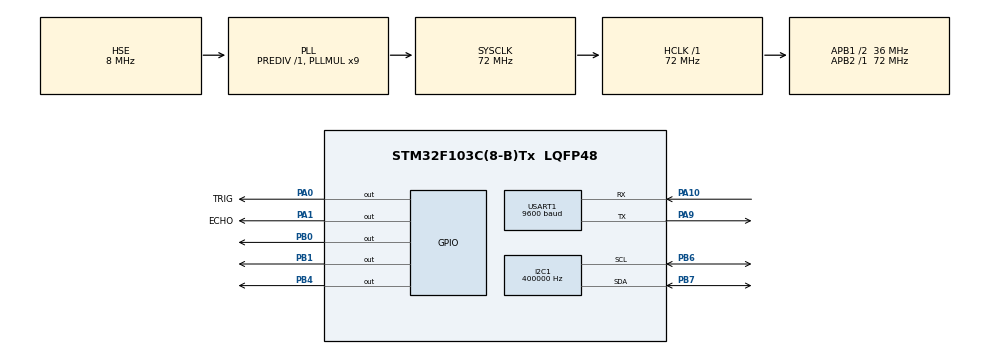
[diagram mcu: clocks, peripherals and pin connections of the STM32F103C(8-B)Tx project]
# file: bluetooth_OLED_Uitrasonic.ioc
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I2C1.ClockSpeed=400000
I2C1.DutyCycle=I2C_DUTYCYCLE_16_9
I2C1.I2C_Mode=I2C_Fast
Mcu.Family=STM32F1
Mcu.Name=STM32F103C(8-B)Tx
Mcu.Package=LQFP48
NVIC.PriorityGroup=NVIC_PRIORITYGROUP_4
NVIC.USART1_IRQn=true\:0\:0\:false\:false\:true\:true\:true\:true
PA0-WKUP.GPIO_Label=TRIG
PA0-WKUP.Signal=GPIO_Output
PA1.GPIO_Label=ECHO
PA1.Signal=GPIO_Output
PA10.Mode=Asynchronous
PA10.Signal=USART1_RX
PA13.Mode=Serial_Wire
PA13.Signal=SYS_JTMS-SWDIO
PA14.Mode=Serial_Wire
PA14.Signal=SYS_JTCK-SWCLK
PA9.Mode=Asynchronous
PA9.Signal=USART1_TX
PB0.Signal=GPIO_Output
PB1.Signal=GPIO_Output
PB4.Signal=GPIO_Output
PB6.Mode=I2C
PB6.Signal=I2C1_SCL
PB7.Mode=I2C
PB7.Signal=I2C1_SDA
PD0-OSC_IN.Mode=HSE-External-Oscillator
PD0-OSC_IN.Signal=RCC_OSC_IN
PD1-OSC_OUT.Mode=HSE-External-Oscillator
PD1-OSC_OUT.Signal=RCC_OSC_OUT
ProjectManager.HeapSize=0x200
ProjectManager.StackSize=0x400
ProjectManager.TargetToolchain=MDK-ARM V5.32
RCC.AHBFreq_Value=72000000
RCC.APB1CLKDivider=RCC_HCLK_DIV2
RCC.APB1Freq_Value=36000000
RCC.APB1TimFreq_Value=72000000
RCC.APB2Freq_Value=72000000
RCC.APB2TimFreq_Value=72000000
RCC.HCLKFreq_Value=72000000
RCC.PLLMUL=RCC_PLL_MUL9
RCC.PLLSourceVirtual=RCC_PLLSOURCE_HSE
RCC.SYSCLKFreq_VALUE=72000000
RCC.SYSCLKSource=RCC_SYSCLKSOURCE_PLLCLK
RCC.USBFreq_Value=72000000
USART1.BaudRate=9600
USART1.VirtualMode=VM_ASYNC
board=custom

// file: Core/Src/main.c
/* USER CODE BEGIN Header */
/**
  ******************************************************************************
  * @file           : main.c
  * @brief          : Main program body
  ******************************************************************************
  * @attention
  *
  * Copyright (c) 2026 STMicroelectronics.
  * All rights reserved.
  *
  * This software is licensed under terms that can be found in the LICENSE file
  * in the root directory of this software component.
  * If no LICENSE file comes with this software, it is provided AS-IS.
  *
  ******************************************************************************
  */
/* USER CODE END Header */
#include "main.h"

/* USER CODE BEGIN Includes */
#include "OLED.h"
#include <stdio.h>
#include <string.h>
/* USER CODE END Includes */

/* USER CODE BEGIN PD */
#define TRIG_PIN GPIO_PIN_0
#define TRIG_PORT GPIOA
#define ECHO_PIN GPIO_PIN_1
#define ECHO_PORT GPIOA

// 电机控制引脚（右电机 BIN1 改用 PB4）
#define AIN1_PIN GPIO_PIN_0   // PB0 - 左前
#define AIN2_PIN GPIO_PIN_1   // PB1 - 左后
#define BIN1_PIN GPIO_PIN_4   // PB4 - 右前 ✅
#define BIN2_PIN GPIO_PIN_3   // PB3 - 右后（受限）
#define MOTOR_PORT GPIOB

// 小车动作
#define STOP        0
#define FORWARD     1
#define BACKWARD    2
#define LEFT        3
#define RIGHT       4
/* USER CODE END PD */

I2C_HandleTypeDef hi2c1;
UART_HandleTypeDef huart1;

/* USER CODE BEGIN PV */
volatile uint8_t bluetooth_cmd = 's'; // 默认停止
/* USER CODE END PV */

void SystemClock_Config(void);
static void MX_GPIO_Init(void);
static void MX_I2C1_Init(void);
static void MX_USART1_UART_Init(void);
/* USER CODE BEGIN PFP */

#include "core_cm3.h"

void delay_us(uint32_t us) {
    static int dwt_init = 0;
    if (!dwt_init) {
        CoreDebug->DEMCR |= CoreDebug_DEMCR_TRCENA_Msk;
        DWT->CTRL |= DWT_CTRL_CYCCNTENA_Msk;
        dwt_init = 1;
    }
    uint32_t start = DWT->CYCCNT;
    uint32_t cycles = us * (SystemCoreClock / 1000000);
    while ((DWT->CYCCNT - start) < cycles);
}

float get_distance_cm(void) {
    HAL_GPIO_WritePin(TRIG_PORT, TRIG_PIN, GPIO_PIN_SET);
    delay_us(10);
    HAL_GPIO_WritePin(TRIG_PORT, TRIG_PIN, GPIO_PIN_RESET);

    uint32_t timeout = 5000;
    while (HAL_GPIO_ReadPin(ECHO_PORT, ECHO_PIN) == GPIO_PIN_RESET) {
        if (--timeout == 0) return -1.0f;
        delay_us(1);
    }

    uint32_t start = DWT->CYCCNT;
    timeout = 30000;
    while (HAL_GPIO_ReadPin(ECHO_PORT, ECHO_PIN) == GPIO_PIN_SET) {
        if (--timeout == 0) return -1.0f;
        delay_us(1);
    }

    float time_us = (float)(DWT->CYCCNT - start) / (SystemCoreClock / 1000000.0f);
    return time_us * 0.017f;
}

void Car_Move(uint8_t direction)
{
    switch(direction) {
        case FORWARD:
            HAL_GPIO_WritePin(MOTOR_PORT, AIN1_PIN, GPIO_PIN_SET);
            HAL_GPIO_WritePin(MOTOR_PORT, AIN2_PIN, GPIO_PIN_RESET);
            HAL_GPIO_WritePin(MOTOR_PORT, BIN1_PIN, GPIO_PIN_SET);
            HAL_GPIO_WritePin(MOTOR_PORT, BIN2_PIN, GPIO_PIN_RESET);
            break;

        case BACKWARD:
            // 右电机不能后退 → 仅左轮后退，右轮刹车
            HAL_GPIO_WritePin(MOTOR_PORT, AIN1_PIN, GPIO_PIN_RESET);
            HAL_GPIO_WritePin(MOTOR_PORT, AIN2_PIN, GPIO_PIN_SET);
            HAL_GPIO_WritePin(MOTOR_PORT, BIN1_PIN, GPIO_PIN_RESET);
            HAL_GPIO_WritePin(MOTOR_PORT, BIN2_PIN, GPIO_PIN_RESET);
            break;

        case LEFT:
            // 左轮后退，右轮前进
            HAL_GPIO_WritePin(MOTOR_PORT, AIN1_PIN, GPIO_PIN_RESET);
            HAL_GPIO_WritePin(MOTOR_PORT, AIN2_PIN, GPIO_PIN_SET);
            HAL_GPIO_WritePin(MOTOR_PORT, BIN1_PIN, GPIO_PIN_SET);
            HAL_GPIO_WritePin(MOTOR_PORT, BIN2_PIN, GPIO_PIN_RESET);
            break;

        case RIGHT:
            // 左轮前进，右轮刹车（因不能后退）
            HAL_GPIO_WritePin(MOTOR_PORT, AIN1_PIN, GPIO_PIN_SET);
            HAL_GPIO_WritePin(MOTOR_PORT, AIN2_PIN, GPIO_PIN_RESET);
            HAL_GPIO_WritePin(MOTOR_PORT, BIN1_PIN, GPIO_PIN_RESET);
            HAL_GPIO_WritePin(MOTOR_PORT, BIN2_PIN, GPIO_PIN_RESET);
            break;

        case STOP:
        default:
            HAL_GPIO_WritePin(MOTOR_PORT, AIN1_PIN, GPIO_PIN_RESET);
            HAL_GPIO_WritePin(MOTOR_PORT, AIN2_PIN, GPIO_PIN_RESET);
            HAL_GPIO_WritePin(MOTOR_PORT, BIN1_PIN, GPIO_PIN_RESET);
            HAL_GPIO_WritePin(MOTOR_PORT, BIN2_PIN, GPIO_PIN_RESET);
            break;
    }
}
/* USER CODE END PFP */

/* USER CODE BEGIN 0 */
uint8_t rx_byte;

void HAL_UART_RxCpltCallback(UART_HandleTypeDef *huart)
{
    if (huart->Instance == USART1) {
        bluetooth_cmd = rx_byte;
        HAL_UART_Receive_IT(&huart1, &rx_byte, 1);
    }
}
/* USER CODE END 0 */

int main(void)
{
  /* USER CODE BEGIN 1 */
  CoreDebug->DEMCR |= CoreDebug_DEMCR_TRCENA_Msk;
  DWT->CTRL |= DWT_CTRL_CYCCNTENA_Msk;
  /* USER CODE END 1 */

  HAL_Init();
  SystemClock_Config();

  MX_GPIO_Init();
  MX_I2C1_Init();
  MX_USART1_UART_Init();

  /* USER CODE BEGIN 2 */
  OLED_Init();
  OLED_Clear();
  OLED_ShowString(1, 1, "Ready");
  OLED_Refresh_Gram();

  rx_byte = 0;
  HAL_UART_Receive_IT(&huart1, &rx_byte, 1);
  /* USER CODE END 2 */

  /* Infinite loop */
  /* USER CODE BEGIN WHILE */
  while (1)
  {
      float dist = get_distance_cm();
      char buffer[20];

      if (dist > 0 && dist < 400) {
          sprintf(buffer, "Dist:%.1fcm", dist);
      } else {
          strcpy(buffer, "Error");
          dist = 500; // 视为无障碍
      }

      OLED_Clear();
      OLED_ShowString(1, 1, buffer);
      OLED_Refresh_Gram();

      // 自动避障：距离 < 20cm 强制停车（最高优先级）
      if (dist < 20.0f) {
          Car_Move(STOP);
      } else {
          switch(bluetooth_cmd) {
              case 'f': Car_Move(FORWARD); break;
              case 'b': Car_Move(BACKWARD); break;
              case 'l': Car_Move(LEFT); break;
              case 'r': Car_Move(RIGHT); break;
              case 's':
              default: Car_Move(STOP); break;
          }
      }

      HAL_Delay(100);
    /* USER CODE END WHILE */

  }
}

void SystemClock_Config(void)
{
  RCC_OscInitTypeDef RCC_OscInitStruct = {0};
  RCC_ClkInitTypeDef RCC_ClkInitStruct = {0};

  RCC_OscInitStruct.OscillatorType = RCC_OSCILLATORTYPE_HSE;
  RCC_OscInitStruct.HSEState = RCC_HSE_ON;
  RCC_OscInitStruct.HSEPredivValue = RCC_HSE_PREDIV_DIV1;
  RCC_OscInitStruct.HSIState = RCC_HSI_ON;
  RCC_OscInitStruct.PLL.PLLState = RCC_PLL_ON;
  RCC_OscInitStruct.PLL.PLLSource = RCC_PLLSOURCE_HSE;
  RCC_OscInitStruct.PLL.PLLMUL = RCC_PLL_MUL9;
  if (HAL_RCC_OscConfig(&RCC_OscInitStruct) != HAL_OK)
  {
    Error_Handler();
  }

  RCC_ClkInitStruct.ClockType = RCC_CLOCKTYPE_HCLK|RCC_CLOCKTYPE_SYSCLK
                              |RCC_CLOCKTYPE_PCLK1|RCC_CLOCKTYPE_PCLK2;
  RCC_ClkInitStruct.SYSCLKSource = RCC_SYSCLKSOURCE_PLLCLK;
  RCC_ClkInitStruct.AHBCLKDivider = RCC_SYSCLK_DIV1;
  RCC_ClkInitStruct.APB1CLKDivider = RCC_HCLK_DIV2;
  RCC_ClkInitStruct.APB2CLKDivider = RCC_HCLK_DIV1;

  if (HAL_RCC_ClockConfig(&RCC_ClkInitStruct, FLASH_LATENCY_2) != HAL_OK)
  {
    Error_Handler();
  }
}

static void MX_I2C1_Init(void)
{
  hi2c1.Instance = I2C1;
  hi2c1.Init.ClockSpeed = 400000;
  hi2c1.Init.DutyCycle = I2C_DUTYCYCLE_16_9;
  hi2c1.Init.OwnAddress1 = 0;
  hi2c1.Init.AddressingMode = I2C_ADDRESSINGMODE_7BIT;
  hi2c1.Init.DualAddressMode = I2C_DUALADDRESS_DISABLE;
  hi2c1.Init.OwnAddress2 = 0;
  hi2c1.Init.GeneralCallMode = I2C_GENERALCALL_DISABLE;
  hi2c1.Init.NoStretchMode = I2C_NOSTRETCH_DISABLE;
  if (HAL_I2C_Init(&hi2c1) != HAL_OK)
  {
    Error_Handler();
  }
}

static void MX_USART1_UART_Init(void)
{
  huart1.Instance = USART1;
  huart1.Init.BaudRate = 9600;
  huart1.Init.WordLength = UART_WORDLENGTH_8B;
  huart1.Init.StopBits = UART_STOPBITS_1;
  huart1.Init.Parity = UART_PARITY_NONE;
  huart1.Init.Mode = UART_MODE_TX_RX;
  huart1.Init.HwFlowCtl = UART_HWCONTROL_NONE;
  huart1.Init.OverSampling = UART_OVERSAMPLING_16;
  if (HAL_UART_Init(&huart1) != HAL_OK)
  {
    Error_Handler();
  }
}

static void MX_GPIO_Init(void)
{
  GPIO_InitTypeDef GPIO_InitStruct = {0};

  __HAL_RCC_GPIOD_CLK_ENABLE();
  __HAL_RCC_GPIOA_CLK_ENABLE();
  __HAL_RCC_GPIOB_CLK_ENABLE();

  // Trig: output
  GPIO_InitStruct.Pin = TRIG_PIN;
  GPIO_InitStruct.Mode = GPIO_MODE_OUTPUT_PP;
  GPIO_InitStruct.Pull = GPIO_NOPULL;
  GPIO_InitStruct.Speed = GPIO_SPEED_FREQ_LOW;
  HAL_GPIO_Init(TRIG_PORT, &GPIO_InitStruct);

  // Echo: input
  GPIO_InitStruct.Pin = ECHO_PIN;
  GPIO_InitStruct.Mode = GPIO_MODE_INPUT;
  GPIO_InitStruct.Pull = GPIO_NOPULL;
  HAL_GPIO_Init(ECHO_PORT, &GPIO_InitStruct);

  // 电机控制：PB0, PB1, PB3, PB4
  GPIO_InitStruct.Pin = AIN1_PIN | AIN2_PIN | BIN1_PIN | BIN2_PIN;
  GPIO_InitStruct.Mode = GPIO_MODE_OUTPUT_PP;
  GPIO_InitStruct.Pull = GPIO_NOPULL;
  GPIO_InitStruct.Speed = GPIO_SPEED_FREQ_LOW;
  HAL_GPIO_Init(MOTOR_PORT, &GPIO_InitStruct);

  // 初始状态：全部刹车
  HAL_GPIO_WritePin(MOTOR_PORT, AIN1_PIN | AIN2_PIN | BIN1_PIN | BIN2_PIN, GPIO_PIN_RESET);
}

void Error_Handler(void)
{
  __disable_irq();
  while (1)
  {
  }
}
